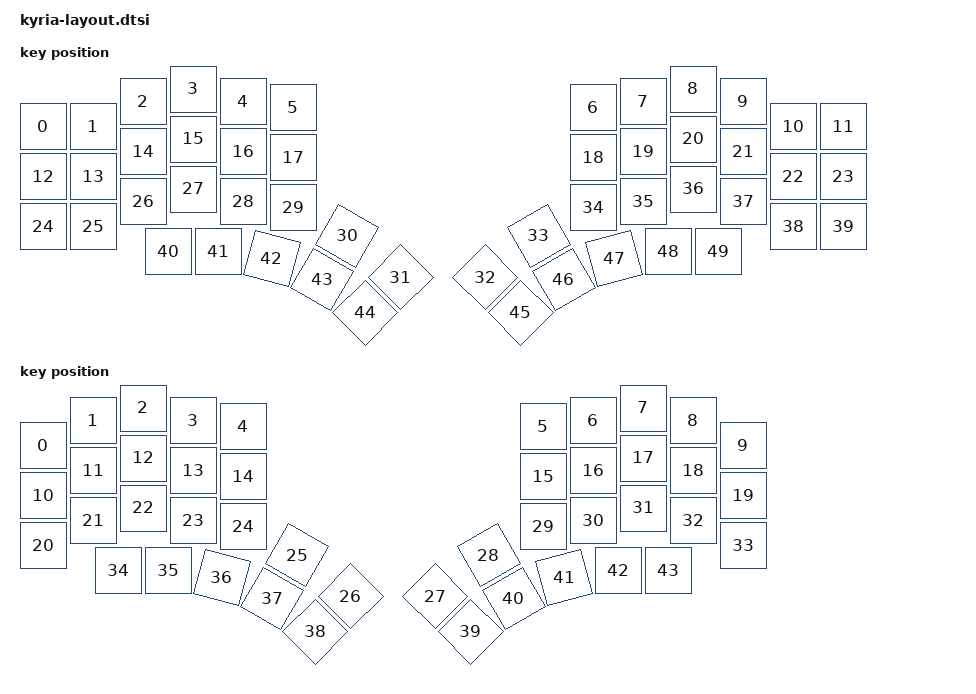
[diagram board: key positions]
#include <physical_layouts.dtsi>

/ {
    splitkb_kyria_6col_layout: splitkb_kyria_6col_layout {
        compatible = "zmk,physical-layout";
        display-name = "6 Column";

        keys  //                     w   h    x    y     rot    rx    ry
            = <&key_physical_attrs 100 100    0   75       0     0     0>
            , <&key_physical_attrs 100 100  100   75       0     0     0>
            , <&key_physical_attrs 100 100  200   25       0     0     0>
            , <&key_physical_attrs 100 100  300    0       0     0     0>
            , <&key_physical_attrs 100 100  400   25       0     0     0>
            , <&key_physical_attrs 100 100  500   37       0     0     0>
            , <&key_physical_attrs 100 100 1100   37       0     0     0>
            , <&key_physical_attrs 100 100 1200   25       0     0     0>
            , <&key_physical_attrs 100 100 1300    0       0     0     0>
            , <&key_physical_attrs 100 100 1400   25       0     0     0>
            , <&key_physical_attrs 100 100 1500   75       0     0     0>
            , <&key_physical_attrs 100 100 1600   75       0     0     0>
            , <&key_physical_attrs 100 100    0  175       0     0     0>
            , <&key_physical_attrs 100 100  100  175       0     0     0>
            , <&key_physical_attrs 100 100  200  125       0     0     0>
            , <&key_physical_attrs 100 100  300  100       0     0     0>
            , <&key_physical_attrs 100 100  400  125       0     0     0>
            , <&key_physical_attrs 100 100  500  137       0     0     0>
            , <&key_physical_attrs 100 100 1100  137       0     0     0>
            , <&key_physical_attrs 100 100 1200  125       0     0     0>
            , <&key_physical_attrs 100 100 1300  100       0     0     0>
            , <&key_physical_attrs 100 100 1400  125       0     0     0>
            , <&key_physical_attrs 100 100 1500  175       0     0     0>
            , <&key_physical_attrs 100 100 1600  175       0     0     0>
            , <&key_physical_attrs 100 100    0  275       0     0     0>
            , <&key_physical_attrs 100 100  100  275       0     0     0>
            , <&key_physical_attrs 100 100  200  225       0     0     0>
            , <&key_physical_attrs 100 100  300  200       0     0     0>
            , <&key_physical_attrs 100 100  400  225       0     0     0>
            , <&key_physical_attrs 100 100  500  237       0     0     0>
            , <&key_physical_attrs 100 100  350  225    3000   400   792>
            , <&key_physical_attrs 100 100  350  225    4500   400   792>
            , <&key_physical_attrs 100 100 1250  225 (-4500)  1300   792>
            , <&key_physical_attrs 100 100 1250  225 (-3000)  1300   792>
            , <&key_physical_attrs 100 100 1100  237       0     0     0>
            , <&key_physical_attrs 100 100 1200  225       0     0     0>
            , <&key_physical_attrs 100 100 1300  200       0     0     0>
            , <&key_physical_attrs 100 100 1400  225       0     0     0>
            , <&key_physical_attrs 100 100 1500  275       0     0     0>
            , <&key_physical_attrs 100 100 1600  275       0     0     0>
            , <&key_physical_attrs 100 100  250  325       0     0     0>
            , <&key_physical_attrs 100 100  350  325       0     0     0>
            , <&key_physical_attrs 100 100  350  325    1500   400   792>
            , <&key_physical_attrs 100 100  350  325    3000   400   792>
            , <&key_physical_attrs 100 100  350  325    4500   400   792>
            , <&key_physical_attrs 100 100 1250  325 (-4500)  1300   792>
            , <&key_physical_attrs 100 100 1250  325 (-3000)  1300   792>
            , <&key_physical_attrs 100 100 1250  325 (-1500)  1300   792>
            , <&key_physical_attrs 100 100 1250  325       0     0     0>
            , <&key_physical_attrs 100 100 1350  325       0     0     0>
            ;
    };

    splitkb_kyria_5col_layout: splitkb_kyria_5col_layout {
        compatible = "zmk,physical-layout";
        display-name = "5 Column";

        keys  //                     w   h    x    y     rot    rx    ry
            = <&key_physical_attrs 100 100    0   75       0     0     0>
            , <&key_physical_attrs 100 100  100   25       0     0     0>
            , <&key_physical_attrs 100 100  200    0       0     0     0>
            , <&key_physical_attrs 100 100  300   25       0     0     0>
            , <&key_physical_attrs 100 100  400   37       0     0     0>
            , <&key_physical_attrs 100 100 1000   37       0     0     0>
            , <&key_physical_attrs 100 100 1100   25       0     0     0>
            , <&key_physical_attrs 100 100 1200    0       0     0     0>
            , <&key_physical_attrs 100 100 1300   25       0     0     0>
            , <&key_physical_attrs 100 100 1400   75       0     0     0>
            , <&key_physical_attrs 100 100    0  175       0     0     0>
            , <&key_physical_attrs 100 100  100  125       0     0     0>
            , <&key_physical_attrs 100 100  200  100       0     0     0>
            , <&key_physical_attrs 100 100  300  125       0     0     0>
            , <&key_physical_attrs 100 100  400  137       0     0     0>
            , <&key_physical_attrs 100 100 1000  137       0     0     0>
            , <&key_physical_attrs 100 100 1100  125       0     0     0>
            , <&key_physical_attrs 100 100 1200  100       0     0     0>
            , <&key_physical_attrs 100 100 1300  125       0     0     0>
            , <&key_physical_attrs 100 100 1400  175       0     0     0>
            , <&key_physical_attrs 100 100    0  275       0     0     0>
            , <&key_physical_attrs 100 100  100  225       0     0     0>
            , <&key_physical_attrs 100 100  200  200       0     0     0>
            , <&key_physical_attrs 100 100  300  225       0     0     0>
            , <&key_physical_attrs 100 100  400  237       0     0     0>
            , <&key_physical_attrs 100 100  250  225    3000   300   792>
            , <&key_physical_attrs 100 100  250  225    4500   300   792>
            , <&key_physical_attrs 100 100 1150  225 (-4500)  1200   792>
            , <&key_physical_attrs 100 100 1150  225 (-3000)  1200   792>
            , <&key_physical_attrs 100 100 1000  237       0     0     0>
            , <&key_physical_attrs 100 100 1100  225       0     0     0>
            , <&key_physical_attrs 100 100 1200  200       0     0     0>
            , <&key_physical_attrs 100 100 1300  225       0     0     0>
            , <&key_physical_attrs 100 100 1400  275       0     0     0>
            , <&key_physical_attrs 100 100  150  325       0     0     0>
            , <&key_physical_attrs 100 100  250  325       0     0     0>
            , <&key_physical_attrs 100 100  250  325    1500   300   792>
            , <&key_physical_attrs 100 100  250  325    3000   300   792>
            , <&key_physical_attrs 100 100  250  325    4500   300   792>
            , <&key_physical_attrs 100 100 1150  325 (-4500)  1200   792>
            , <&key_physical_attrs 100 100 1150  325 (-3000)  1200   792>
            , <&key_physical_attrs 100 100 1150  325 (-1500)  1200   792>
            , <&key_physical_attrs 100 100 1150  325       0     0     0>
            , <&key_physical_attrs 100 100 1250  325       0     0     0>
            ;
    };

    splitkb_kyria_position_map {
        compatible = "zmk,physical-layout-position-map";

        complete;

        twelve {
            physical-layout = <&splitkb_kyria_6col_layout>;
            positions
                = < 0  1  2  3  4  5              6  7  8  9 10 11>
                , <12 13 14 15 16 17             18 19 20 21 22 23>
                , <24 25 26 27 28 29 30 31 32 33 34 35 36 37 38 39>
                , <      40 41 42 43 44 45 46 47 48 49            >;
        };

        ten {
            physical-layout = <&splitkb_kyria_5col_layout>;
            positions
                = <44  0  1  2  3  4              5  6  7  8  9 47>
                , <45 10 11 12 13 14             15 16 17 18 19 48>
                , <46 20 21 22 23 24 25 26 27 28 29 30 31 32 33 49>
                , <      34 35 36 37 38 39 40 41 42 43            >;
        };
    };
};
